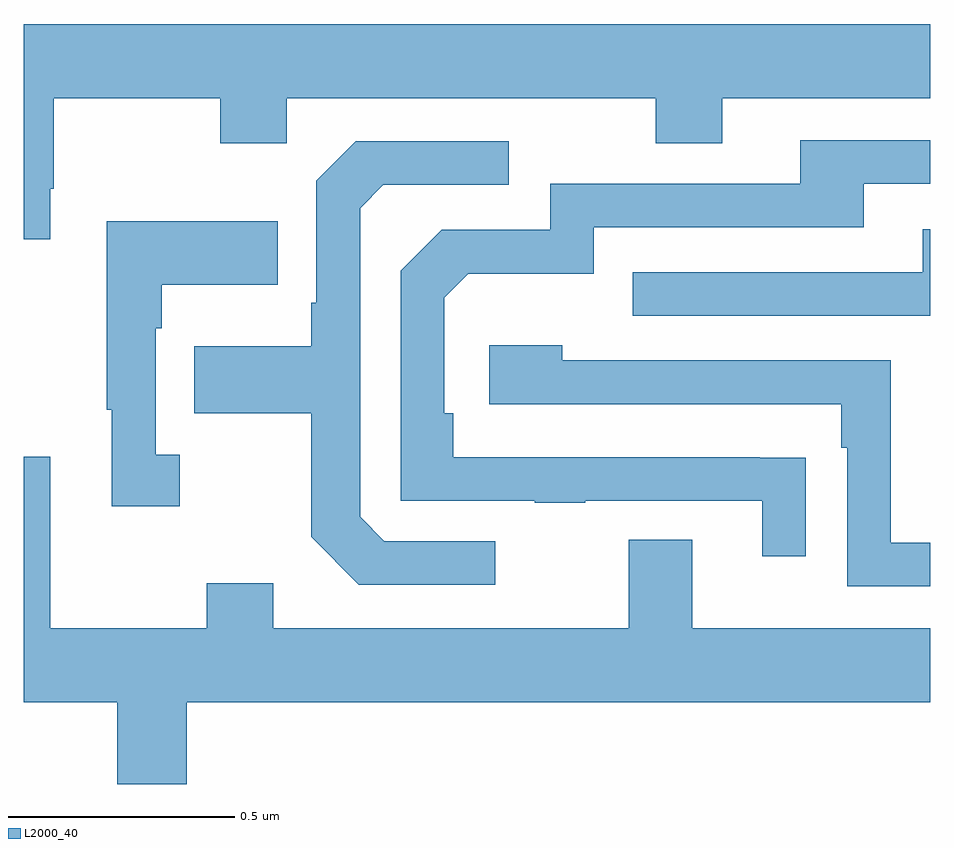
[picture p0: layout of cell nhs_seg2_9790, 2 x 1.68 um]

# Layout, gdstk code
import gdstk
lib = gdstk.Library(unit=1e-6, precision=1e-09)
def P(c, l, *ps):  # polygons
    for p in ps: c.add(gdstk.Polygon(p, *l))
L2000_40 = (2000, 40)

nhs_seg2_9790 = lib.new_cell('nhs_seg2_9790')
P(nhs_seg2_9790, L2000_40, [(233.059,638.113),(233.067,638.113),(233.067,638.312),(233.434,638.312),(233.434,638.213),(233.58,638.213),(233.58,638.312),(234.394,638.312),(234.394,638.213),(234.541,638.213),(234.541,638.312),(235,638.312),(235,638.476),(233,638.476),(233,638.001),(233.059,638.001)],
  [(234.725,637.52),(234.623,637.52),(234.623,637.521),(233.948,637.521),(233.948,637.618),(233.928,637.618),(233.928,637.872),(233.981,637.925),(234.258,637.925),(234.258,638.028),(234.853,638.028),(234.853,638.124),(235,638.124),(235,638.22),(234.713,638.22),(234.713,638.124),(234.162,638.124),(234.162,638.022),(233.922,638.022),(233.832,637.932),(233.832,637.425),(234.127,637.425),(234.127,637.42),(234.239,637.42),(234.239,637.425),(234.629,637.425),(234.629,637.302),(234.725,637.302)],
  [(234.04,637.335),(233.796,637.335),(233.742,637.389),(233.742,638.07),(233.793,638.121),(234.07,638.121),(234.07,638.217),(233.733,638.217),(233.646,638.13),(233.646,637.861),(233.634,637.861),(233.634,637.765),(233.377,637.765),(233.377,637.618),(233.634,637.618),(233.634,637.345),(233.739,637.239),(234.04,637.239)],
  [(233.344,637.526),(233.292,637.526),(233.292,637.805),(233.305,637.805),(233.305,637.901),(233.561,637.901),(233.561,638.041),(233.184,638.041),(233.184,637.625),(233.195,637.625),(233.195,637.413),(233.344,637.413)],
  [(235,638.023),(234.983,638.023),(234.983,637.929),(234.343,637.929),(234.343,637.833),(235,637.833)],
  [(235,637.332),(234.912,637.332),(234.912,637.734),(234.188,637.734),(234.188,637.768),(234.027,637.768),(234.027,637.638),(234.803,637.638),(234.803,637.541),(234.816,637.541),(234.816,637.236),(235,637.236)],
  [(233.36,636.98),(235,636.98),(235,637.144),(234.475,637.144),(234.475,637.339),(234.335,637.339),(234.335,637.144),(233.551,637.144),(233.551,637.243),(233.404,637.243),(233.404,637.144),(233.059,637.144),(233.059,637.522),(233,637.522),(233,636.98),(233.207,636.98),(233.207,636.8),(233.36,636.8)])

lib.write_gds('nhs_seg2_9790.gds')
